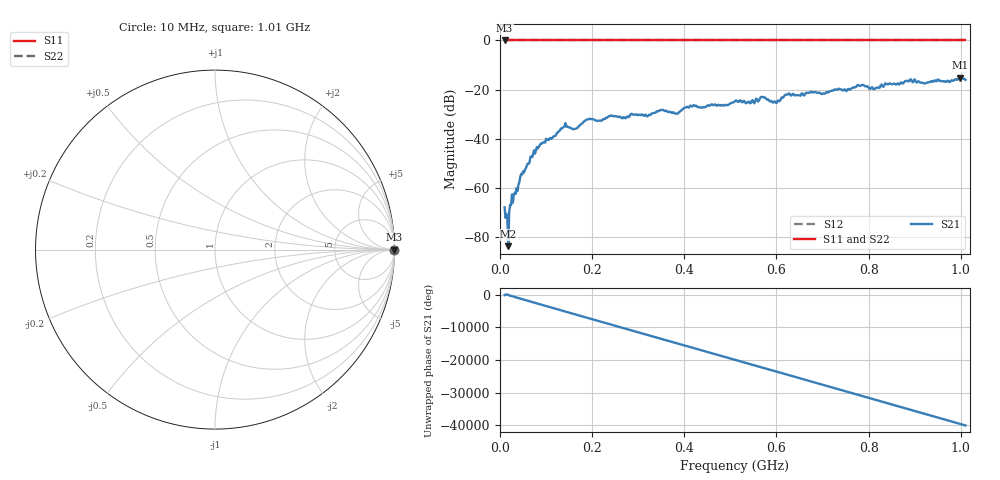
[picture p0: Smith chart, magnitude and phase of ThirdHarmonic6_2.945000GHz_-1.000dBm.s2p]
! 8/17/2025 8:15:59 AM
! C:\ANRITSUVNA\TEMP\TEMP.S2P
! CHANNEL.1
! TR.MEASUREMENT
! RAW.DATA
! RF.CORRECTION.OFF
! AVERAGING.OFF
! IF.BANDWIDTH: 5KHZ
! SWEEPTYPE:  FREQ.SWEEP(Linear)
! Reference Plane Port Info
! PORT:  PORT1  PORT2
! DISTANCE:  0  m  0  m
! TIME:  0  s  0  s
! PHASE.OFFSET:  0  deg.  0  deg.
! LOSS:  0  dB  0  dB
! REF.LOSS:  0  dB  0  dB
! REF.FREQ:  0  Hz  0  Hz
! Power Info
! POWER:  -20  dBm  -20  dBm
! EFF.POWER:  -20  dBm  -20  dBm
! SOURCE.ATTEN:  0  dB  0  dB
! TEST.ATTEN:  0  dB  0  dB
# GHZ S RI R 50.0
! FREQ.GHZ  S11RE  S11IM  S21RE  S21IM  S12RE  S12IM  S22RE  S22IM
!; PortSelection: Port_12
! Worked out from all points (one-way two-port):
!   501 points, 10 MHz to 1.01 GHz, reference 50 ohm
!   highest |S21| = -15.08 dB at 998 MHz (marker M1); lowest = -83.7 dB at 18 MHz (marker M2)
!   lowest |S11| = 0.0 dB at 10 MHz (marker M3)
!   |S11| at or under -10 dB: nowhere
!   |S22| runs from 0.0 to 0.0 dB; largest |S21 - S12| = 1.2
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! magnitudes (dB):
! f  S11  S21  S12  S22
! 10 MHz  0.0  -67.9  0.0  0.0
! 14 MHz  0.0  -70.6  0.0  0.0
! 18 MHz  0.0  -83.7  0.0  0.0
! 26 MHz  0.0  -62.7  0.0  0.0
! 46 MHz  0.0  -54.3  0.0  0.0
! 76 MHz  0.0  -46.1  0.0  0.0
! 138 MHz  0.0  -35.2  0.0  0.0
! 162 MHz  0.0  -36.0  0.0  0.0
! 178 MHz  0.0  -33.7  0.0  0.0
! 344 MHz  0.0  -28.8  0.0  0.0
! 384 MHz  0.0  -29.8  0.0  0.0
! 416 MHz  0.0  -26.9  0.0  0.0
! 510 MHz  0.0  -24.7  0.0  0.0
! 548 MHz  0.0  -24.3  0.0  0.0
! 570 MHz  0.0  -23.0  0.0  0.0
! 596 MHz  0.0  -24.8  0.0  0.0
! 624 MHz  0.0  -22.0  0.0  0.0
! 678 MHz  0.0  -21.1  0.0  0.0
! 814 MHz  0.0  -19.6  0.0  0.0
! 844 MHz  0.0  -17.7  0.0  0.0
! 998 MHz  0.0  -15.1  0.0  0.0
! 1.01 GHz  0.0  -16.0  0.0  0.0
